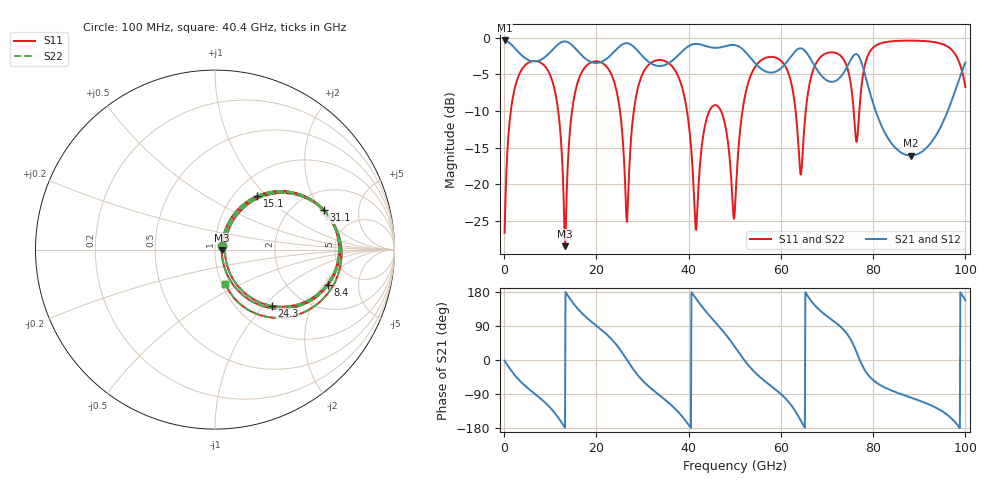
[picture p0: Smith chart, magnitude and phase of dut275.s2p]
! Touchstone file exported from HFSS 2026.1.0
!  File:  C:/ffzhzh/LocalFiles/Ansys_Project_Files/temp_train_TSV_RDL_275_1783675886_33328.aedt
!  Generated:  06:14:01 PM Jul 10, 2026
!  Design:  TSV_RDL
!  Project:  temp_train_TSV_RDL_275_1783675886_33328
! Variables:
!  h_bsmrdl = 2.1um
!  h_ox = 20um
!  h_rdl = 5um
!  h_sub = 58.66um
!  h_tmrdl = 4.47um
!  h_tsv = 58.66um
!  h_via = 3um
!  l_bsmrdl = 699.02um
!  l_sub = 4708.5um
!  l_tmrdl = 533.15um
!  m_sub = 200um
!  pitch = 57.66um
!  r_tsv = 11.95um
!  s_tmrdl = 10um
!  w_bsmrdl = 12.21um
!  w_sub = 500um
!  w_tmrdl = 14.07um
!  x_tsv_center1 = 540.185um
!  x_tsv_center2 = 1251.415um
!  x_tsv_center3 = 1798.635um
!  x_tsv_center4 = 2509.865um
!  x_tsv_center5 = 3057.085um
!  x_tsv_center6 = 3768.315um
# GHz S MA R 50.000000
! Terminal data exported
! Port[1] = TM_RDL1_1_T1
! Port[2] = TM_RDL5_1_T1
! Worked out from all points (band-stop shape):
!   1000 points, 100 MHz to 100 GHz, reference 50 ohm
!   highest |S21| = -0.36 dB at 100 MHz (marker M1); lowest = -16.1 dB at 88.2 GHz (marker M2)
!   |S21| within 3 dB of the highest: start of sweep to 19.12 GHz; 35.92 GHz to 54.28 GHz (18.36 GHz wide, 40.7 % of centre) (the widest 2 of 5)
!   lowest |S11| = -28.4 dB at 13.2 GHz (marker M3), VSWR 1.08, Z = 53.9 - j0.264 ohm
!   |S11| at or under -10 dB: 11.72 GHz to 14.72 GHz (2.995 GHz wide, 22.7 % of centre); 39.64 GHz to 44.49 GHz (4.848 GHz wide, 11.5 % of centre); 47.02 GHz to 51.66 GHz (4.64 GHz wide, 9.41 % of centre) (the widest 3 of 7)
!   |S22| runs from -28.4 to -0.4 dB; largest |S21 - S12| = 1.1e-12
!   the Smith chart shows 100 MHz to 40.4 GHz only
!   S11 on the Smith chart (normalised r, x): 100 MHz: 1.08, +0.05; 8.4 GHz: 3.19, -2.25; 15.1 GHz: 1.27, +0.89; 24.3 GHz: 1.42, -1.11; 31.1 GHz: 2.86, +2.15; 40.4 GHz: 1.04, -0.41
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0.1  0.04674 29.2  0.9597 -1.9  0.9597 -1.9  0.04674 29.2
! Gamma 0 0 0 0
! Port Impedance 50 0 50 0
2.5  0.4793 42.4  0.8382 -42.8  0.8382 -42.8  0.4793 42.4
8.4  0.6605 -17.5  0.7223 -107.0  0.7223 -107.0  0.6605 -17.5
13.2  0.03785 -3.7  0.9454 -178.7  0.9454 -178.7  0.03782 -3.7
15.1  0.3808 51.8  0.8673 147.9  0.8673 147.9  0.3808 51.8
16.8  0.58 31.0  0.7603 124.2  0.7603 124.2  0.58 31.0
24.3  0.4445 -44.8  0.8316 40.8  0.8316 40.8  0.4445 -44.8
26.6  0.05556 -1.9  0.9194 0.9  0.9194 0.9  0.05583 -1.9
31.1  0.6433 20.0  0.6948 -67.0  0.6948 -67.0  0.6434 20.0
33.4  0.705 -1.3  0.6424 -90.4  0.6424 -90.4  0.7051 -1.3
40.4  0.1989 -73.1  0.8914 -177.7  0.8914 -177.7  0.1988 -73.2
41.7  0.05197 2.5  0.9094 160.3  0.9094 160.3  0.05168 2.7
45.2  0.3415 15.7  0.8571 107.5  0.8571 107.5  0.3415 15.8
50.1  0.07364 67.9  0.8918 33.3  0.8918 33.3  0.07402 67.6
53.6  0.5669 61.2  0.7189 -22.9  0.7189 -22.9  0.5669 61.2
61.4  0.5987 -11.1  0.6917 -106.8  0.6917 -106.8  0.5987 -11.0
64.3  0.1165 17.9  0.8484 -159.5  0.8484 -159.5  0.1167 17.9
66.7  0.5637 54.2  0.6948 153.8  0.6948 153.8  0.5638 54.2
76.6  0.211 34.5  0.7675 14.9  0.7675 14.9  0.2116 34.5
83.4  0.9419 9.1  0.2024 -77.5  0.2024 -77.5  0.9419 9.1
88.2  0.9573 -9.3  0.1572 -99.2  0.1572 -99.2  0.9573 -9.3
100  0.4609 -92.1  0.6781 157.4  0.6781 157.4  0.4614 -91.9
